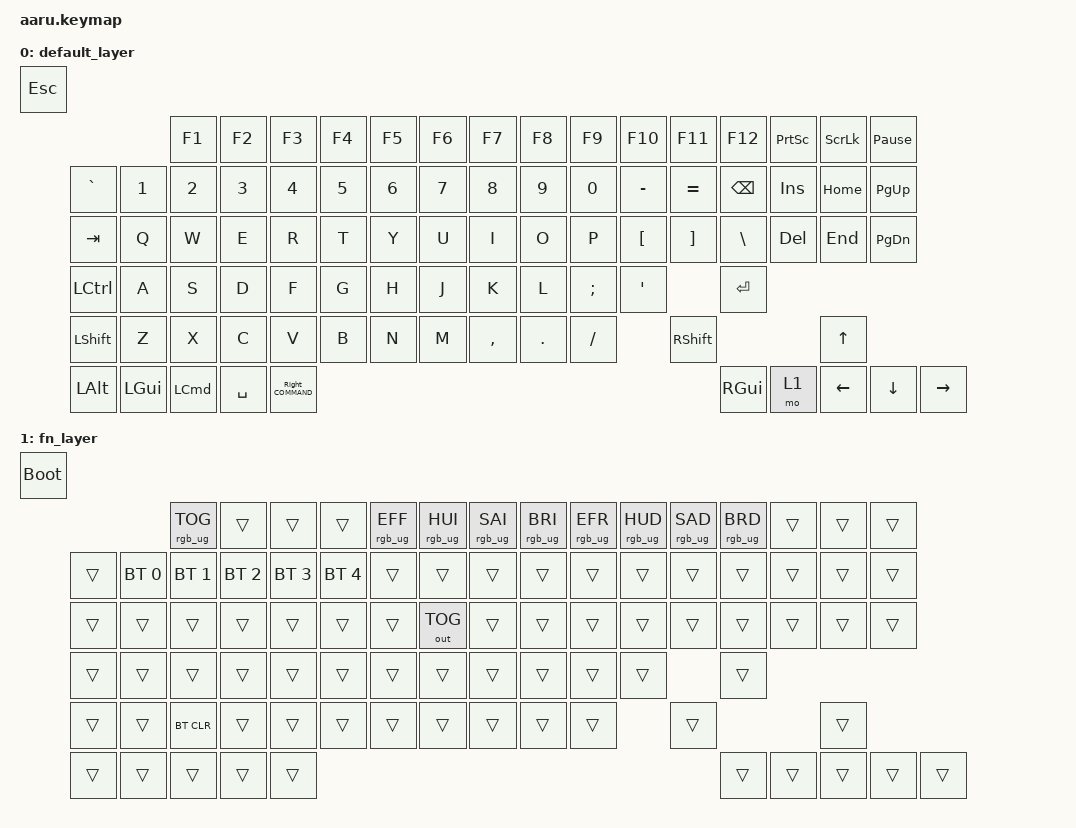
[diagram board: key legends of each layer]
#include <behaviors.dtsi>
#include <dt-bindings/zmk/bt.h>
#include <dt-bindings/zmk/keys.h>
#include <dt-bindings/zmk/outputs.h>
#include <dt-bindings/zmk/rgb.h>

/ {
    keymap {
        compatible = "zmk,keymap";

        default_layer {
            bindings = <
&kp ESC
                              &kp F1            &kp F2  &kp F3  &kp F4  &kp F5  &kp F6  &kp F7     &kp F8     &kp F9    &kp F10    &kp F11    &kp F12   &kp PSCRN  &kp SLCK  &kp PAUSE_BREAK
         &kp GRAVE  &kp N1    &kp N2            &kp N3  &kp N4  &kp N5  &kp N6  &kp N7  &kp N8     &kp N9     &kp N0    &kp MINUS  &kp EQUAL  &kp BSPC  &kp INS    &kp HOME  &kp PG_UP
         &kp TAB    &kp Q     &kp W             &kp E   &kp R   &kp T   &kp Y   &kp U   &kp I      &kp O      &kp P     &kp LBKT   &kp RBKT   &kp BSLH  &kp DEL    &kp END   &kp PG_DN
         &kp LCTRL   &kp A     &kp S             &kp D   &kp F   &kp G   &kp H   &kp J   &kp K      &kp L      &kp SEMI  &kp SQT               &kp RET
         &kp LSHFT  &kp Z     &kp X             &kp C   &kp V   &kp B   &kp N   &kp M   &kp COMMA  &kp DOT    &kp FSLH             &kp RSHFT                       &kp UP
         &kp LALT  &kp LGUI  &kp LEFT_COMMAND                                                     &kp SPACE  &kp Right_COMMAND  &kp RGUI   &mo 1                &kp LEFT   &kp DOWN  &kp RIGHT
            >;
        };

        fn_layer {
            bindings = <
&bootloader
                                   &rgb_ug RGB_TOG  &trans        &trans        &trans        &rgb_ug RGB_EFF  &rgb_ug RGB_HUI  &rgb_ug RGB_SAI  &rgb_ug RGB_BRI  &rgb_ug RGB_EFR  &rgb_ug RGB_HUD  &rgb_ug RGB_SAD  &rgb_ug RGB_BRD  &trans  &trans  &trans
             &trans  &bt BT_SEL 0  &bt BT_SEL 1     &bt BT_SEL 2  &bt BT_SEL 3  &bt BT_SEL 4  &trans           &trans           &trans           &trans           &trans           &trans           &trans           &trans           &trans  &trans  &trans
             &trans  &trans        &trans           &trans        &trans        &trans        &trans           &out OUT_TOG     &trans           &trans           &trans           &trans           &trans           &trans           &trans  &trans  &trans
             &trans  &trans        &trans           &trans        &trans        &trans        &trans           &trans           &trans           &trans           &trans           &trans                            &trans
             &trans  &trans        &bt BT_CLR       &trans        &trans        &trans        &trans           &trans           &trans           &trans           &trans                            &trans                                    &trans
             &trans  &trans        &trans                                                                                                        &trans           &trans           &trans           &trans                            &trans  &trans  &trans
            >;
        };
    };
};
